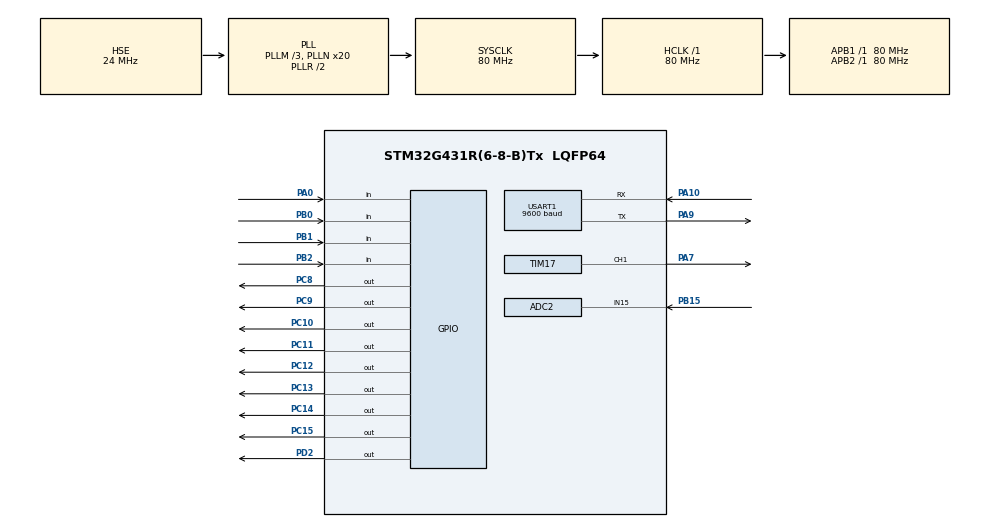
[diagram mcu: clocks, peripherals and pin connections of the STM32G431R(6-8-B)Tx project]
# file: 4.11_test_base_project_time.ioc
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ADC2.Channel-0\#ChannelRegularConversion=ADC_CHANNEL_15
ADC2.NbrOfConversionFlag=1
ADC2.OffsetNumber-0\#ChannelRegularConversion=ADC_OFFSET_NONE
ADC2.Rank-0\#ChannelRegularConversion=1
ADC2.SamplingTime-0\#ChannelRegularConversion=ADC_SAMPLETIME_2CYCLES_5
Dma.Request0=USART1_RX
Dma.Request1=USART1_TX
Dma.USART1_RX.0.Direction=DMA_PERIPH_TO_MEMORY
Dma.USART1_RX.0.EventEnable=DISABLE
Dma.USART1_RX.0.Instance=DMA1_Channel1
Dma.USART1_RX.0.MemDataAlignment=DMA_MDATAALIGN_BYTE
Dma.USART1_RX.0.MemInc=DMA_MINC_ENABLE
Dma.USART1_RX.0.Mode=DMA_NORMAL
Dma.USART1_RX.0.PeriphDataAlignment=DMA_PDATAALIGN_BYTE
Dma.USART1_RX.0.PeriphInc=DMA_PINC_DISABLE
Dma.USART1_RX.0.Polarity=HAL_DMAMUX_REQ_GEN_RISING
Dma.USART1_RX.0.Priority=DMA_PRIORITY_LOW
Dma.USART1_RX.0.RequestNumber=1
Dma.USART1_RX.0.SignalID=NONE
Dma.USART1_RX.0.SyncEnable=DISABLE
Dma.USART1_RX.0.SyncPolarity=HAL_DMAMUX_SYNC_NO_EVENT
Dma.USART1_RX.0.SyncRequestNumber=1
Dma.USART1_RX.0.SyncSignalID=NONE
Dma.USART1_TX.1.Direction=DMA_MEMORY_TO_PERIPH
Dma.USART1_TX.1.EventEnable=DISABLE
Dma.USART1_TX.1.Instance=DMA1_Channel2
Dma.USART1_TX.1.MemDataAlignment=DMA_MDATAALIGN_BYTE
Dma.USART1_TX.1.MemInc=DMA_MINC_ENABLE
Dma.USART1_TX.1.Mode=DMA_NORMAL
Dma.USART1_TX.1.PeriphDataAlignment=DMA_PDATAALIGN_BYTE
Dma.USART1_TX.1.PeriphInc=DMA_PINC_DISABLE
Dma.USART1_TX.1.Polarity=HAL_DMAMUX_REQ_GEN_RISING
Dma.USART1_TX.1.Priority=DMA_PRIORITY_LOW
Dma.USART1_TX.1.RequestNumber=1
Dma.USART1_TX.1.SignalID=NONE
Dma.USART1_TX.1.SyncEnable=DISABLE
Dma.USART1_TX.1.SyncPolarity=HAL_DMAMUX_SYNC_NO_EVENT
Dma.USART1_TX.1.SyncRequestNumber=1
Dma.USART1_TX.1.SyncSignalID=NONE
Mcu.Family=STM32G4
Mcu.Name=STM32G431R(6-8-B)Tx
Mcu.Package=LQFP64
NVIC.DMA1_Channel1_IRQn=true\:0\:0\:false\:false\:true\:false\:true\:true
NVIC.DMA1_Channel2_IRQn=true\:0\:0\:false\:false\:true\:false\:true\:true
NVIC.PriorityGroup=NVIC_PRIORITYGROUP_4
NVIC.TIM1_UP_TIM16_IRQn=true\:0\:0\:false\:false\:true\:true\:true\:true
NVIC.USART1_IRQn=true\:0\:0\:false\:false\:true\:true\:true\:true
PA0.GPIO_Mode=GPIO_MODE_INPUT
PA0.GPIO_PuPd=GPIO_NOPULL
PA0.Signal=GPIO_Input
PA10.Mode=Asynchronous
PA10.Signal=USART1_RX
PA13.Mode=Serial_Wire
PA13.Signal=SYS_JTMS-SWDIO
PA14.Mode=Serial_Wire
PA14.Signal=SYS_JTCK-SWCLK
PA7.Signal=S_TIM17_CH1
PA9.Mode=Asynchronous
PA9.Signal=USART1_TX
PB0.GPIO_Mode=GPIO_MODE_INPUT
PB0.GPIO_PuPd=GPIO_NOPULL
PB0.Signal=GPIO_Input
PB1.GPIO_Mode=GPIO_MODE_INPUT
PB1.GPIO_PuPd=GPIO_NOPULL
PB1.Signal=GPIO_Input
PB15.Mode=IN15-Single-Ended
PB15.Signal=ADC2_IN15
PB2.GPIO_Mode=GPIO_MODE_INPUT
PB2.GPIO_PuPd=GPIO_NOPULL
PB2.Signal=GPIO_Input
PC10.GPIO_ModeDefaultOutputPP=GPIO_MODE_OUTPUT_PP
PC10.GPIO_PuPd=GPIO_NOPULL
PC10.GPIO_Speed=GPIO_SPEED_FREQ_LOW
PC10.PinState=GPIO_PIN_SET
PC10.Signal=GPIO_Output
PC11.GPIO_ModeDefaultOutputPP=GPIO_MODE_OUTPUT_PP
PC11.GPIO_PuPd=GPIO_NOPULL
PC11.GPIO_Speed=GPIO_SPEED_FREQ_LOW
PC11.PinState=GPIO_PIN_SET
PC11.Signal=GPIO_Output
PC12.GPIO_ModeDefaultOutputPP=GPIO_MODE_OUTPUT_PP
PC12.GPIO_PuPd=GPIO_NOPULL
PC12.GPIO_Speed=GPIO_SPEED_FREQ_LOW
PC12.PinState=GPIO_PIN_SET
PC12.Signal=GPIO_Output
PC13.GPIO_ModeDefaultOutputPP=GPIO_MODE_OUTPUT_PP
PC13.GPIO_PuPd=GPIO_NOPULL
PC13.GPIO_Speed=GPIO_SPEED_FREQ_LOW
PC13.PinState=GPIO_PIN_SET
PC13.Signal=GPIO_Output
PC14-OSC32_IN.GPIO_ModeDefaultOutputPP=GPIO_MODE_OUTPUT_PP
PC14-OSC32_IN.GPIO_PuPd=GPIO_NOPULL
PC14-OSC32_IN.GPIO_Speed=GPIO_SPEED_FREQ_LOW
PC14-OSC32_IN.PinState=GPIO_PIN_SET
PC14-OSC32_IN.Signal=GPIO_Output
PC15-OSC32_OUT.GPIO_ModeDefaultOutputPP=GPIO_MODE_OUTPUT_PP
PC15-OSC32_OUT.GPIO_PuPd=GPIO_NOPULL
PC15-OSC32_OUT.GPIO_Speed=GPIO_SPEED_FREQ_LOW
PC15-OSC32_OUT.PinState=GPIO_PIN_SET
PC15-OSC32_OUT.Signal=GPIO_Output
PC8.GPIO_ModeDefaultOutputPP=GPIO_MODE_OUTPUT_PP
PC8.GPIO_PuPd=GPIO_NOPULL
PC8.GPIO_Speed=GPIO_SPEED_FREQ_LOW
PC8.PinState=GPIO_PIN_SET
PC8.Signal=GPIO_Output
PC9.GPIO_ModeDefaultOutputPP=GPIO_MODE_OUTPUT_PP
PC9.GPIO_PuPd=GPIO_NOPULL
PC9.GPIO_Speed=GPIO_SPEED_FREQ_LOW
PC9.PinState=GPIO_PIN_SET
PC9.Signal=GPIO_Output
PD2.GPIO_ModeDefaultOutputPP=GPIO_MODE_OUTPUT_PP
PD2.GPIO_PuPd=GPIO_NOPULL
PD2.GPIO_Speed=GPIO_SPEED_FREQ_LOW
PD2.PinState=GPIO_PIN_SET
PD2.Signal=GPIO_Output
PF0-OSC_IN.Mode=HSE-External-Oscillator
PF0-OSC_IN.Signal=RCC_OSC_IN
PF1-OSC_OUT.Mode=HSE-External-Oscillator
PF1-OSC_OUT.Signal=RCC_OSC_OUT
ProjectManager.HeapSize=0x200
ProjectManager.StackSize=0x400
ProjectManager.TargetToolchain=MDK-ARM V5.32
RCC.ADC12Freq_Value=80000000
RCC.AHBFreq_Value=80000000
RCC.APB1Freq_Value=80000000
RCC.APB1TimFreq_Value=80000000
RCC.APB2Freq_Value=80000000
RCC.APB2TimFreq_Value=80000000
RCC.CortexFreq_Value=80000000
RCC.EXTERNAL_CLOCK_VALUE=12288000
RCC.HCLKFreq_Value=80000000
RCC.HSE_VALUE=24000000
RCC.HSI48_VALUE=48000000
RCC.HSI_VALUE=16000000
RCC.LSE_VALUE=32768
RCC.PLLM=RCC_PLLM_DIV3
RCC.PLLN=20
RCC.PLLSourceVirtual=RCC_PLLSOURCE_HSE
RCC.SYSCLKFreq_VALUE=80000000
RCC.SYSCLKSource=RCC_SYSCLKSOURCE_PLLCLK
RCC.USBFreq_Value=80000000
RCC.VCOOutputFreq_Value=160000000
SH.S_TIM17_CH1.0=TIM17_CH1,PWM Generation1 CH1
TIM1.PeriodNoDither=1000-1
TIM1.Prescaler=80-1
TIM17.Channel=TIM_CHANNEL_1
TIM17.PeriodNoDither=100-1
TIM17.Prescaler=800-1
USART1.BaudRate=9600
USART1.VirtualMode-Asynchronous=VM_ASYNC
VP_SYS_VS_DBSignals.Mode=DisableDeadBatterySignals
VP_TIM17_VS_ClockSourceINT.Mode=Enable_Timer
VP_TIM1_VS_ClockSourceINT.Mode=Internal
board=custom

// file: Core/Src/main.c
/* USER CODE BEGIN Header */
/**
  ******************************************************************************
  * @file           : main.c
  * @brief          : Main program body
  ******************************************************************************
  * @attention
  *
  * Copyright (c) 2026 STMicroelectronics.
  * All rights reserved.
  *
  * This software is licensed under terms that can be found in the LICENSE file
  * in the root directory of this software component.
  * If no LICENSE file comes with this software, it is provided AS-IS.
  *
  ******************************************************************************
  */
/* USER CODE END Header */
#include "main.h"
#include "adc.h"
#include "dma.h"
#include "tim.h"
#include "usart.h"
#include "gpio.h"

/* USER CODE BEGIN Includes */
#include "headfile.h"
/* USER CODE END Includes */

/* USER CODE BEGIN PV */
extern DMA_HandleTypeDef hdma_usart1_rx;
uint8_t rx_buff[50];
/* USER CODE END PV */

void SystemClock_Config(void);

int main(void)
{

  /* MCU Configuration--------------------------------------------------------*/

  /* Reset of all peripherals, Initializes the Flash interface and the Systick. */
  HAL_Init();

  /* Configure the system clock */
  SystemClock_Config();

  /* Initialize all configured peripherals */
  MX_GPIO_Init();
  MX_DMA_Init();
  MX_USART1_UART_Init();
  MX_TIM1_Init();
  MX_ADC2_Init();
  MX_TIM17_Init();
  /* USER CODE BEGIN 2 */
HAL_GPIO_WritePin(GPIOD,GPIO_PIN_2,GPIO_PIN_RESET);
HAL_TIM_Base_Start_IT(&htim1);

LCD_Init();
LCD_Clear(Black);
LCD_SetBackColor(Black);
LCD_SetTextColor(White);

HAL_ADCEx_Calibration_Start(&hadc2,ADC_SINGLE_ENDED);

HAL_TIM_PWM_Start(&htim17,TIM_CHANNEL_1);
TIM17->CCR1=20;

		HAL_UARTEx_ReceiveToIdle_DMA(&huart1,rx_buff,sizeof(rx_buff));
		__HAL_DMA_DISABLE_IT(&hdma_usart1_rx,DMA_IT_HT);

printf("hello\r\n");
  /* USER CODE END 2 */

  /* Infinite loop */
  /* USER CODE BEGIN WHILE */
  while (1)
  {

	  task();

	  if(key_short)
	  {
		switch(key_short)
		{
			case 1:{
				if(mode_lcd==0)
				{
					auto_flag=!auto_flag;
				}

			}break;
				case 2:{
				if(mode_lcd==0&&auto_flag==0)
				{
					v+=100;
				}
				if(mode_lcd==1)
				{
					temp_set+=5;if(temp_set>=60)temp_set=60;
				}
				}break;
					case 3:{
					if(mode_lcd==0&&auto_flag==0)
				{
					v-=100;
				}
				if(mode_lcd==1)
				{
					temp_set-=5;if(temp_set<=30)temp_set=30;
				}
					}break;
						case 4:{
						mode_lcd=(mode_lcd+1)%2;

						}break;
		}key_short=0;
	  }

	  if(key_long)
	  {
		switch(key_long)
		{
			case 1:{}break;
				case 2:{}break;
					case 3:{}break;
						case 4:{
						//printf("ok2\r\n");
						}break;
		}key_long=0;
	  }
    /* USER CODE END WHILE */

  }
}

void SystemClock_Config(void)
{
  RCC_OscInitTypeDef RCC_OscInitStruct = {0};
  RCC_ClkInitTypeDef RCC_ClkInitStruct = {0};

  /** Configure the main internal regulator output voltage
  */
  HAL_PWREx_ControlVoltageScaling(PWR_REGULATOR_VOLTAGE_SCALE1);

  /** Initializes the RCC Oscillators according to the specified parameters
  * in the RCC_OscInitTypeDef structure.
  */
  RCC_OscInitStruct.OscillatorType = RCC_OSCILLATORTYPE_HSE;
  RCC_OscInitStruct.HSEState = RCC_HSE_ON;
  RCC_OscInitStruct.PLL.PLLState = RCC_PLL_ON;
  RCC_OscInitStruct.PLL.PLLSource = RCC_PLLSOURCE_HSE;
  RCC_OscInitStruct.PLL.PLLM = RCC_PLLM_DIV3;
  RCC_OscInitStruct.PLL.PLLN = 20;
  RCC_OscInitStruct.PLL.PLLP = RCC_PLLP_DIV2;
  RCC_OscInitStruct.PLL.PLLQ = RCC_PLLQ_DIV2;
  RCC_OscInitStruct.PLL.PLLR = RCC_PLLR_DIV2;
  if (HAL_RCC_OscConfig(&RCC_OscInitStruct) != HAL_OK)
  {
    Error_Handler();
  }

  /** Initializes the CPU, AHB and APB buses clocks
  */
  RCC_ClkInitStruct.ClockType = RCC_CLOCKTYPE_HCLK|RCC_CLOCKTYPE_SYSCLK
                              |RCC_CLOCKTYPE_PCLK1|RCC_CLOCKTYPE_PCLK2;
  RCC_ClkInitStruct.SYSCLKSource = RCC_SYSCLKSOURCE_PLLCLK;
  RCC_ClkInitStruct.AHBCLKDivider = RCC_SYSCLK_DIV1;
  RCC_ClkInitStruct.APB1CLKDivider = RCC_HCLK_DIV1;
  RCC_ClkInitStruct.APB2CLKDivider = RCC_HCLK_DIV1;

  if (HAL_RCC_ClockConfig(&RCC_ClkInitStruct, FLASH_LATENCY_2) != HAL_OK)
  {
    Error_Handler();
  }
}

/* USER CODE BEGIN 4 */

int fputc(int ch,FILE *f)
{
	HAL_UART_Transmit(&huart1,(uint8_t *)&ch,1,50);
	return ch;
}

void HAL_UARTEx_RxEventCallback(UART_HandleTypeDef *huart, uint16_t Size)
{
	if(huart->Instance==USART1)
	{
		uart_process();
		HAL_UARTEx_ReceiveToIdle_DMA(huart,rx_buff,sizeof(rx_buff));
		__HAL_DMA_DISABLE_IT(&hdma_usart1_rx,DMA_IT_HT);
	}
}

/* USER CODE END 4 */

void Error_Handler(void)
{
  __disable_irq();
  while (1)
  {
  }
}
